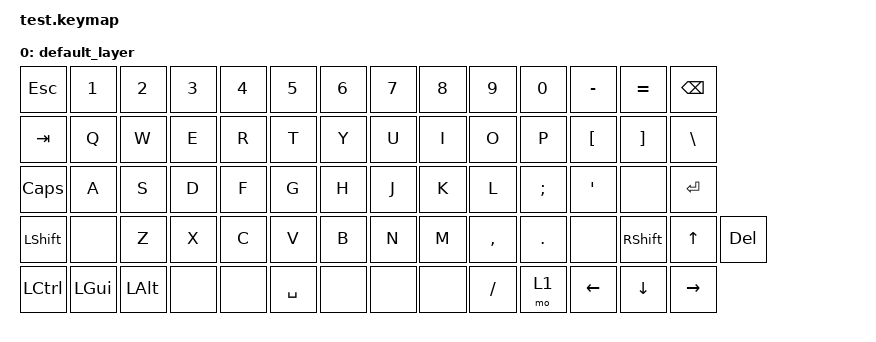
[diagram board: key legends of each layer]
#include <behaviors.dtsi>
#include <dt-bindings/zmk/keys.h>
#include <dt-bindings/zmk/bt.h>

/ {
    keymap {
            compatible = "zmk,keymap";

            default_layer {
            bindings = <
&kp ESC    &kp N1   &kp N2   &kp N3 &kp N4 &kp N5 &kp N6    &kp N7 &kp N8    &kp N9     &kp N0     &kp MINUS &kp EQUAL  &kp BSPC
&kp TAB    &kp Q    &kp W    &kp E  &kp R  &kp T  &kp Y     &kp U  &kp I     &kp O      &kp P      &kp LBKT  &kp RBKT   &kp BSLH
&kp CAPS   &kp A    &kp S    &kp D  &kp F  &kp G  &kp H     &kp J  &kp K     &kp L      &kp SEMI   &kp APOS  &none      &kp ENTER
&kp LSHIFT &none    &kp Z    &kp X     &kp C  &kp V  &kp B  &kp N  &kp M     &kp COMMA  &kp PERIOD &none     &kp RSHIFT &kp UP     &kp DEL
&kp LCTRL  &kp LGUI &kp LALT &none &none &kp SPACE &none &none &none &kp SLASH &mo 1 &kp LEFT &kp DOWN &kp RIGHT

            >;
        };
    };
};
